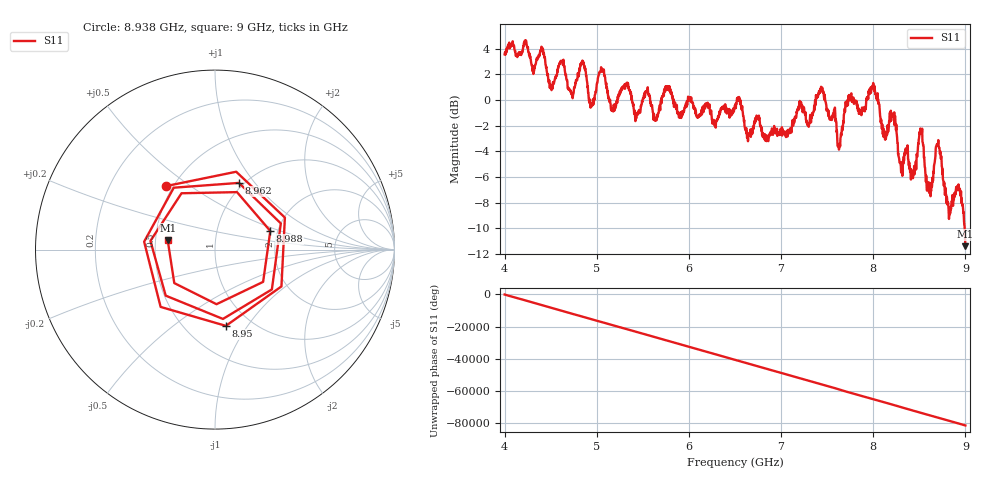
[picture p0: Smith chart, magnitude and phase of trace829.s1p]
! Created with skrf 1.8.0 (http://scikit-rf.org).
# Hz S RI R 50.0
!freq ReS11 ImS11
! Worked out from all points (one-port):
!   1601 points, 4 GHz to 9 GHz, reference 50 ohm
!   lowest |S11| = -11.4 dB at 9 GHz (marker M1), VSWR 1.74, Z = 29 + j3.37 ohm
!   |S11| at or under -10 dB: 8.992045 GHz to end of sweep
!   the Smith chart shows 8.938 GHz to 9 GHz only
!   S11 on the Smith chart (normalised r, x): 8.938 GHz: 0.46, +0.41; 8.95 GHz: 0.77, -0.80; 8.962 GHz: 0.95, +0.84; 8.988 GHz: 1.83, +0.42; 9 GHz: 0.58, +0.07
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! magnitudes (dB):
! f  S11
! 4 GHz  3.6
! 4.409 GHz  4.1
! 4.512 GHz  0.9
! 4.625 GHz  3.0
! 4.725 GHz  0.4
! 4.853 GHz  3.0
! 4.941 GHz  -0.5
! 5.053 GHz  2.2
! 5.166 GHz  -0.8
! 5.25 GHz  0.7
! 5.875 GHz  -0.9
! 6.5 GHz  -0.5
! 7.125 GHz  -1.8
! 7.438 GHz  0.9
! 7.634 GHz  -3.4
! 7.75 GHz  0.2
! 8.003 GHz  0.9
! 8.375 GHz  -3.8
! 8.434 GHz  -5.7
! 8.519 GHz  -2.4
! 8.606 GHz  -7.2
! 8.703 GHz  -3.4
! 8.819 GHz  -8.8
! 8.938 GHz  -7.0
! 8.95 GHz  -7.3
! 8.962 GHz  -8.1
! 8.988 GHz  -9.8
! 9 GHz  -11.4
